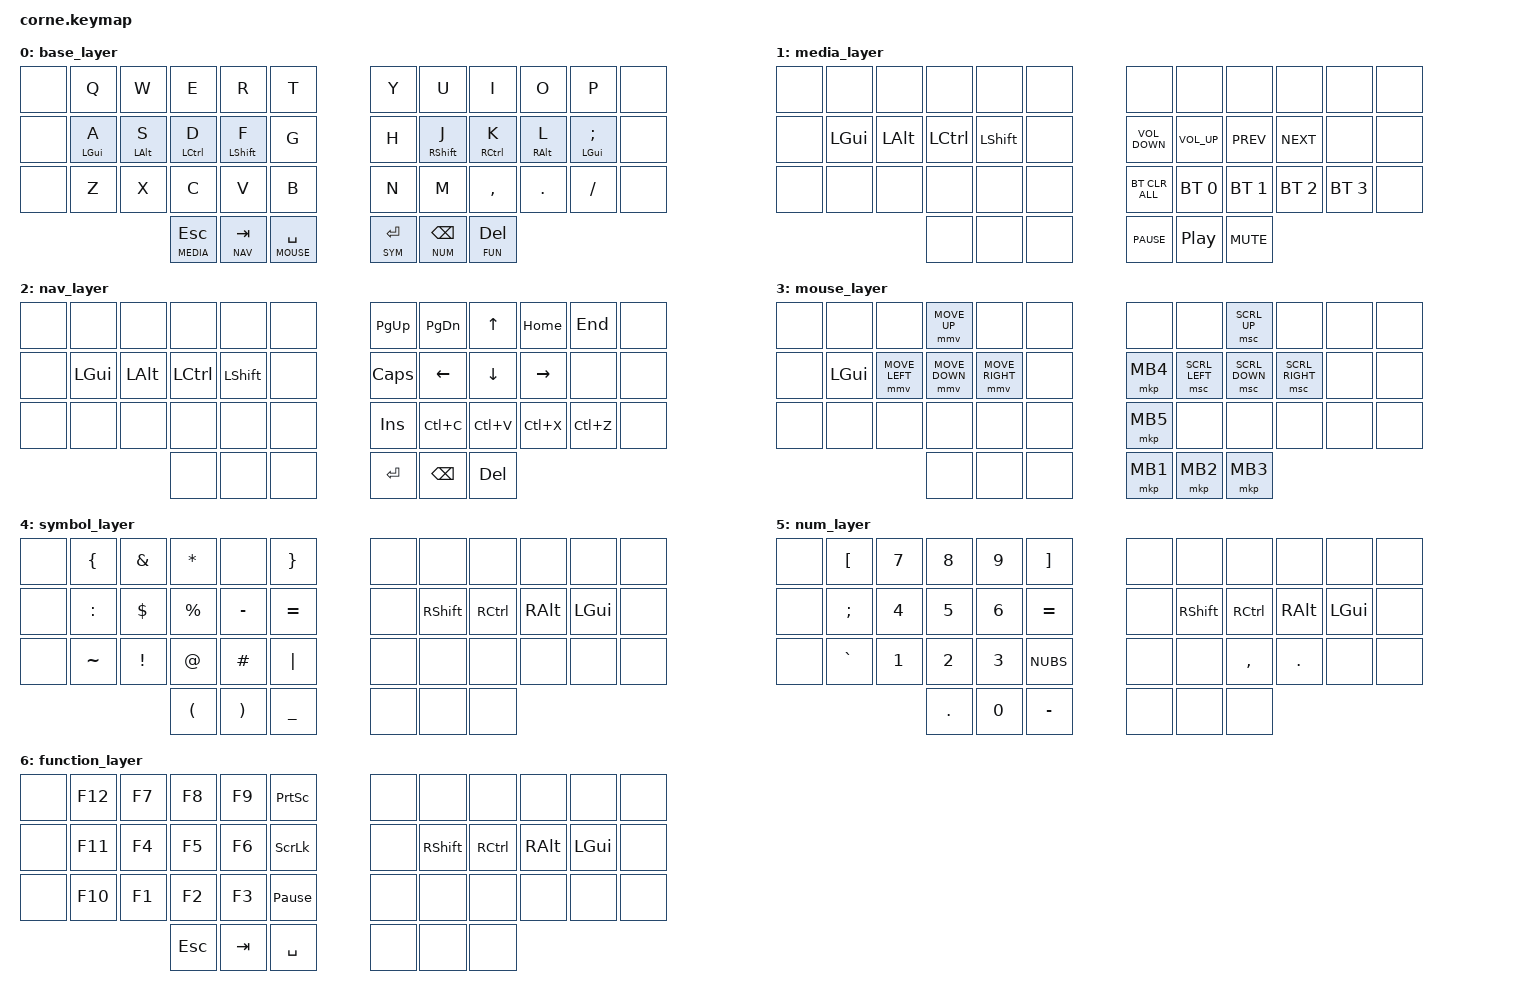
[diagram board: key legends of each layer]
/*
 * Copyright (c) 2020 The ZMK Contributors
 *
 * SPDX-License-Identifier: MIT
 */

/*
 Title: Chocofi ZMK Keymap.
 * Author: Ryan H 
 * Version 2.0
 * Description: Chocofi (Corne) Keymap based on Miryoku Layout. https://github.com/manna-harbour/miryoku_zmk with some deviations
 */

#include <behaviors.dtsi>
#include <dt-bindings/zmk/keys.h>
#include <dt-bindings/zmk/bt.h>
#include <dt-bindings/zmk/mouse.h>
#include <dt-bindings/zmk/outputs.h>
#include <dt-bindings/zmk/pointing.h>

#define ZMK_POINTING_DEFAULT_MOVE_VAL 800  // default: 600
#define ZMK_POINTING_DEFAULT_SCRL_VAL 20    // default: 10
#define ZMK_KEYBOARD_DEBUG


#define U_NA &none

#define BASE    0
#define MEDIA   1
#define NAV     2
#define MOUSE   3
#define SYM     4
#define NUM     5
#define FUN     6

// Duration of hold for mod tap
&mt {
    tapping-term-ms = <250>;
};


/ {
        keymap {
                compatible = "zmk,keymap";

                base_layer {
                        bindings = <

//      LRNA            LR1             LR2             LR3             LR4             LR5                             RR5             RR4             RR3             RR2             RR1             RRNA
//-----------------------------------------------------------------------------------------------------------------------------------------------------------------------------------------------------------
        U_NA            &kp Q           &kp W           &kp E           &kp R           &kp T                           &kp Y           &kp U           &kp I           &kp O           &kp P           U_NA
        U_NA            &mt LGUI A      &mt LALT S      &mt LCTRL D     &mt LSHFT F     &kp G                           &kp H           &mt RSHFT J     &mt RCTRL K     &mt RALT L      &mt LGUI SEMI   U_NA
        U_NA            &kp Z           &kp X           &kp C           &kp V           &kp B                           &kp N           &kp M           &kp COMMA       &kp PERIOD      &kp FSLH        U_NA
                                                        &lt MEDIA ESC   &lt NAV TAB     &lt MOUSE SPACE                 &lt SYM RET     &lt NUM BSPC    &lt FUN DEL
                        >;
                };
                media_layer {
                        bindings = <
//      LRNA            LR1             LR2             LR3             LR4             LR5                             RR5             RR4             RR3             RR2             RR1             RRNA
//-----------------------------------------------------------------------------------------------------------------------------------------------------------------------------------------------------------
        U_NA            U_NA            U_NA            U_NA            U_NA            U_NA                            U_NA            U_NA            U_NA            U_NA            U_NA            U_NA
        U_NA            &kp LGUI        &kp LALT        &kp LCTRL       &kp LSHFT       U_NA                            &kp C_VOLUME_DOWN &kp C_VOLUME_UP &kp C_PREV    &kp C_NEXT      U_NA            U_NA
        U_NA            U_NA            U_NA            U_NA            U_NA            U_NA                            &bt BT_CLR_ALL  &bt BT_SEL 0    &bt BT_SEL 1    &bt BT_SEL 2    &bt BT_SEL 3    U_NA
                                                        U_NA            U_NA            U_NA                            &kp C_PAUSE     &kp C_PLAY_PAUSE &kp C_MUTE                        
                        >;
                };

                nav_layer {
                        bindings = <
//      LRNA            LR1             LR2             LR3             LR4             LR5                             RR5             RR4             RR3             RR2             RR1             RRNA
//-----------------------------------------------------------------------------------------------------------------------------------------------------------------------------------------------------------
        U_NA            U_NA            U_NA            U_NA            U_NA            U_NA                            &kp PG_UP       &kp PG_DN       &kp UP          &kp HOME        &kp END        U_NA
        U_NA            &kp LGUI        &kp LALT        &kp LCTRL       &kp LSHFT       U_NA                            &kp CAPS        &kp LEFT        &kp DOWN        &kp RIGHT       U_NA           U_NA
        U_NA            U_NA            U_NA            U_NA            U_NA            U_NA                            &kp INS         &kp LC(C)       &kp LC(V)       &kp LC(X)       &kp LC(Z)      U_NA
                                                        U_NA            U_NA            U_NA                            &kp RET         &kp BSPC        &kp DEL
                        >;
                };

                mouse_layer {
                        bindings = <
//      LRNA            LR1             LR2             LR3             LR4             LR5                             RR5             RR4             RR3             RR2             RR1             RRNA
//-----------------------------------------------------------------------------------------------------------------------------------------------------------------------------------------------------------
        U_NA            U_NA            U_NA            &mmv MOVE_UP    U_NA            U_NA                            U_NA            U_NA            &msc SCRL_UP    U_NA            U_NA            U_NA
        U_NA            &kp LGUI        &mmv MOVE_LEFT  &mmv MOVE_DOWN  &mmv MOVE_RIGHT U_NA                            &mkp MB4        &msc SCRL_LEFT  &msc SCRL_DOWN  &msc SCRL_RIGHT U_NA            U_NA
        U_NA            U_NA            U_NA            U_NA            U_NA            U_NA                            &mkp MB5        U_NA            U_NA            U_NA            U_NA            U_NA
                                                        U_NA            U_NA            U_NA                            &mkp MB1        &mkp MB2        &mkp MB3
                        >;
                };

                symbol_layer {
                        bindings = <
//      LRNA            LR1             LR2             LR3             LR4             LR5                             RR5             RR4             RR3             RR2             RR1             RRNA
//-----------------------------------------------------------------------------------------------------------------------------------------------------------------------------------------------------------
        U_NA            &kp LBRC        &kp AMPS        &kp STAR        U_NA            &kp RBRC                        U_NA            U_NA            U_NA            U_NA            U_NA            U_NA
        U_NA            &kp COLON       &kp DLLR        &kp PRCNT       &kp MINUS       &kp EQUAL                       U_NA            &kp RSHFT       &kp RCTRL       &kp RALT        &kp LGUI        U_NA
        U_NA            &kp TILDE       &kp EXCL        &kp AT          &kp HASH        &kp PIPE                        U_NA            U_NA            U_NA            U_NA            U_NA            U_NA
                                                        &kp LPAR        &kp RPAR        &kp UNDER                       U_NA            U_NA            U_NA
                        >;
                };

                num_layer {
                        bindings = <
//      LRNA            LR1             LR2             LR3             LR4             LR5                             RR5             RR4             RR3             RR2             RR1             RRNA
//-----------------------------------------------------------------------------------------------------------------------------------------------------------------------------------------------------------
        U_NA            &kp LBKT        &kp N7          &kp N8          &kp N9          &kp RBKT                        U_NA            U_NA            U_NA            U_NA            U_NA            U_NA
        U_NA            &kp SEMI        &kp N4          &kp N5          &kp N6          &kp EQUAL                       U_NA            &kp RSHFT       &kp RCTRL       &kp RALT        &kp LGUI        U_NA
        U_NA            &kp GRAVE       &kp N1          &kp N2          &kp N3          &kp NUBS                        U_NA            U_NA            &kp COMMA       &kp PERIOD      U_NA            U_NA
                                                        &kp DOT         &kp N0          &kp MINUS                       U_NA            U_NA            U_NA
                        >;
                };

                function_layer { 
                        bindings = <
//      LRNA            LR1             LR2             LR3             LR4             LR5                             RR5             RR4             RR3             RR2             RR1             RRNA
//-----------------------------------------------------------------------------------------------------------------------------------------------------------------------------------------------------------
        U_NA            &kp F12         &kp F7          &kp F8          &kp F9          &kp PSCRN                       U_NA            U_NA            U_NA            U_NA            U_NA            U_NA
        U_NA            &kp F11         &kp F4          &kp F5          &kp F6          &kp SLCK                        U_NA            &kp RSHFT       &kp RCTRL       &kp RALT        &kp LGUI        U_NA
        U_NA            &kp F10         &kp F1          &kp F2          &kp F3          &kp PAUSE_BREAK                 U_NA            U_NA            U_NA            U_NA            U_NA            U_NA
                                                        &kp ESC         &kp TAB         &kp SPACE                       U_NA            U_NA            U_NA
                        >;
                };
        };
};
